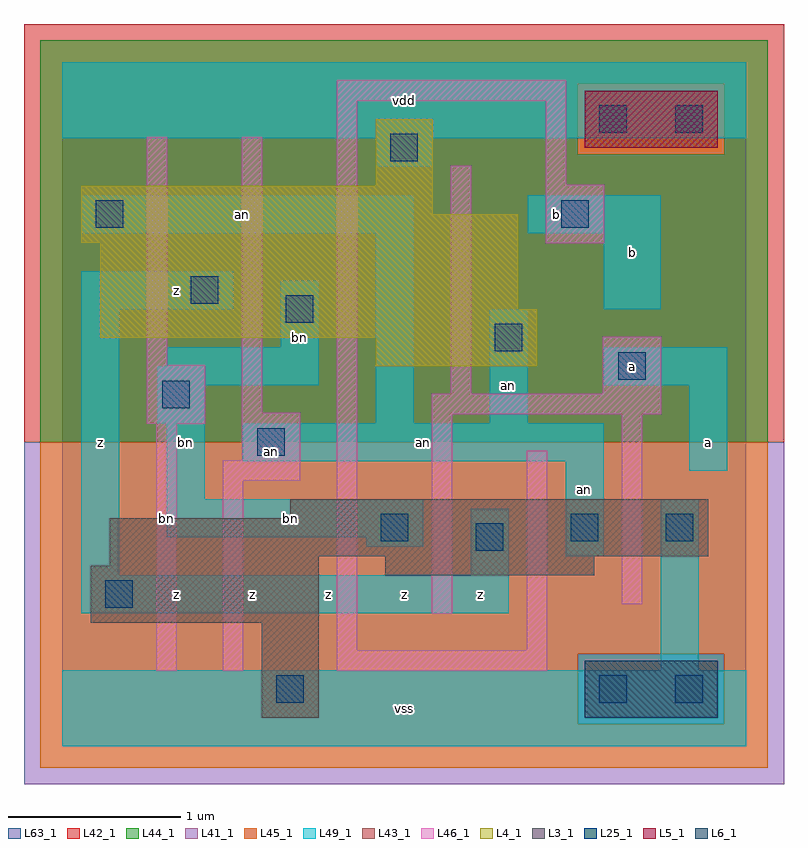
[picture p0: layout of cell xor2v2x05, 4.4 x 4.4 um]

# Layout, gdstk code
import gdstk
lib = gdstk.Library(unit=1e-6, precision=1e-09)
def R(c, l, rs):  # rectangles x0, y0, x1, y1
    for r in rs: c.add(gdstk.rectangle(r[:2], r[2:], *l))
L3_1 = (3, 1)
L4_1 = (4, 1)
L5_1 = (5, 1)
L6_1 = (6, 1)
L25_1 = (25, 1)
L41_1 = (41, 1)
L42_1 = (42, 1)
L43_1 = (43, 1)
L44_1 = (44, 1)
L45_1 = (45, 1)
L46_1 = (46, 1)
L49_1 = (49, 1)
L63_1 = (63, 1)

xor2v2x05 = lib.new_cell('xor2v2x05')
R(xor2v2x05, L3_1, [(1.155,0.165,1.485,0.715), (0.165,0.715,1.485,1.045), (1.87,0.99,3.08,1.1), (0.275,1.045,1.485,1.1), (0.275,1.1,3.74,1.32), (1.32,1.32,3.74,1.43)])
R(xor2v2x05, L4_1, [(1.815,2.2,2.75,2.365), (0.22,2.365,2.75,2.53), (0.22,2.53,2.64,2.915), (0.11,2.915,2.64,3.08), (0.11,3.08,2.145,3.245), (1.815,3.245,2.145,3.63)])
R(xor2v2x05, L5_1, [(3.025,3.465,3.795,3.795)])
R(xor2v2x05, L6_1, [(3.025,0.165,3.795,0.495)])
R(xor2v2x05, L25_1, [(1.24,0.25,1.4,0.41), (3.11,0.25,3.27,0.41), (3.55,0.25,3.71,0.41), (0.25,0.8,0.41,0.96), (2.395,1.13,2.555,1.29), (1.845,1.185,2.005,1.345), (2.945,1.185,3.105,1.345), (3.495,1.185,3.655,1.345), (1.13,1.68,1.29,1.84), (0.58,1.955,0.74,2.115), (3.22,2.12,3.38,2.28), (2.505,2.285,2.665,2.445), (1.295,2.45,1.455,2.61), (0.745,2.56,0.905,2.72), (0.195,3,0.355,3.16), (2.89,3,3.05,3.16), (1.9,3.385,2.06,3.545), (3.11,3.55,3.27,3.71), (3.55,3.55,3.71,3.71)])
R(xor2v2x05, L41_1, [(-0.22,-0.22,4.18,1.76)])
R(xor2v2x05, L42_1, [(-0.22,1.76,4.18,4.18)])
R(xor2v2x05, L43_1, [(1.155,0.165,1.485,0.715), (3.025,0.165,3.795,0.495), (0.165,0.715,1.485,1.045), (1.87,0.99,3.08,1.1), (0.275,1.045,1.485,1.1), (0.275,1.1,3.74,1.32), (1.32,1.32,3.74,1.43), (1.815,2.2,2.75,2.365), (0.22,2.365,2.75,2.53), (0.22,2.53,2.64,2.915), (0.11,2.915,2.64,3.08), (0.11,3.08,2.145,3.245), (1.815,3.245,2.145,3.63), (3.025,3.465,3.795,3.795)])
R(xor2v2x05, L44_1, [(2.985,0.125,3.835,0.535), (-0.125,1.76,4.085,3.425), (-0.125,3.425,2.985,3.835), (3.835,3.425,4.085,3.835), (-0.125,3.835,4.085,4.085)])
R(xor2v2x05, L45_1, [(-0.125,-0.125,4.085,0.125), (-0.125,0.125,2.985,0.535), (3.835,0.125,4.085,0.535), (-0.125,0.535,4.085,1.76), (2.985,3.425,3.835,3.835)])
R(xor2v2x05, L46_1, [(0.545,0.435,0.665,1.865), (0.93,0.435,1.05,1.535), (1.59,0.435,2.81,0.555), (1.59,0.555,1.71,3.735), (2.69,0.555,2.81,1.71), (2.14,0.765,2.26,1.92), (3.24,0.82,3.36,1.92), (0.93,1.535,1.38,1.655), (1.04,1.655,1.38,1.93), (0.49,1.865,0.83,2.205), (2.14,1.92,3.47,2.04), (1.04,1.93,1.16,3.525), (2.25,2.04,2.37,3.36), (3.13,2.04,3.47,2.37), (0.49,2.205,0.61,3.525), (2.8,2.91,3.14,3.25), (2.8,3.25,2.92,3.735), (1.59,3.735,2.92,3.855)])
R(xor2v2x05, L49_1, [(0,0,3.96,0.44), (3.465,0.44,3.685,1.43), (0.11,0.77,2.585,0.99), (0.11,0.99,0.33,2.53), (2.365,0.99,2.585,1.375), (2.915,1.1,3.135,1.65), (1.76,1.155,2.09,1.21), (0.605,1.21,2.09,1.43), (0.605,1.43,0.825,1.87), (3.63,1.595,3.85,2.09), (1.045,1.65,3.135,1.87), (0.55,1.87,0.825,2.09), (1.815,1.87,2.035,2.97), (2.475,1.87,2.695,2.53), (0.55,2.09,1.485,2.2), (3.135,2.09,3.85,2.31), (0.605,2.2,1.485,2.31), (1.265,2.31,1.485,2.695), (0.11,2.53,0.99,2.75), (3.135,2.53,3.465,2.97), (0.11,2.97,2.035,3.19), (2.695,2.97,3.465,3.19), (1.815,3.355,2.145,3.52), (0,3.52,3.96,3.96)])
R(xor2v2x05, L63_1, [(0,0,3.96,3.96)])
xor2v2x05.add(gdstk.Label('an', (1.21,1.705), layer=49, texttype=1))
xor2v2x05.add(gdstk.Label('bn', (0.605,1.32), layer=46, texttype=1))
xor2v2x05.add(gdstk.Label('z', (0.66,0.88), layer=49, texttype=1))
xor2v2x05.add(gdstk.Label('z', (0.22,1.76), layer=49, texttype=1))
xor2v2x05.add(gdstk.Label('bn', (0.715,1.76), layer=49, texttype=1))
xor2v2x05.add(gdstk.Label('z', (0.66,2.64), layer=49, texttype=1))
xor2v2x05.add(gdstk.Label('z', (1.54,0.88), layer=49, texttype=1))
xor2v2x05.add(gdstk.Label('z', (1.1,0.88), layer=49, texttype=1))
xor2v2x05.add(gdstk.Label('bn', (1.375,2.365), layer=49, texttype=1))
xor2v2x05.add(gdstk.Label('vss', (1.98,0.22), layer=49, texttype=1))
xor2v2x05.add(gdstk.Label('z', (2.42,0.88), layer=49, texttype=1))
xor2v2x05.add(gdstk.Label('z', (1.98,0.88), layer=49, texttype=1))
xor2v2x05.add(gdstk.Label('bn', (1.32,1.32), layer=49, texttype=1))
xor2v2x05.add(gdstk.Label('an', (2.585,2.09), layer=49, texttype=1))
xor2v2x05.add(gdstk.Label('b', (2.86,3.08), layer=49, texttype=1))
xor2v2x05.add(gdstk.Label('an', (1.045,3.08), layer=49, texttype=1))
xor2v2x05.add(gdstk.Label('vdd', (1.98,3.74), layer=49, texttype=1))
xor2v2x05.add(gdstk.Label('an', (3.025,1.485), layer=49, texttype=1))
xor2v2x05.add(gdstk.Label('an', (2.09,1.76), layer=49, texttype=1))
xor2v2x05.add(gdstk.Label('a', (3.74,1.76), layer=49, texttype=1))
xor2v2x05.add(gdstk.Label('a', (3.3,2.2), layer=49, texttype=1))
xor2v2x05.add(gdstk.Label('b', (3.3,2.86), layer=49, texttype=1))

lib.write_gds('xor2v2x05.gds')
